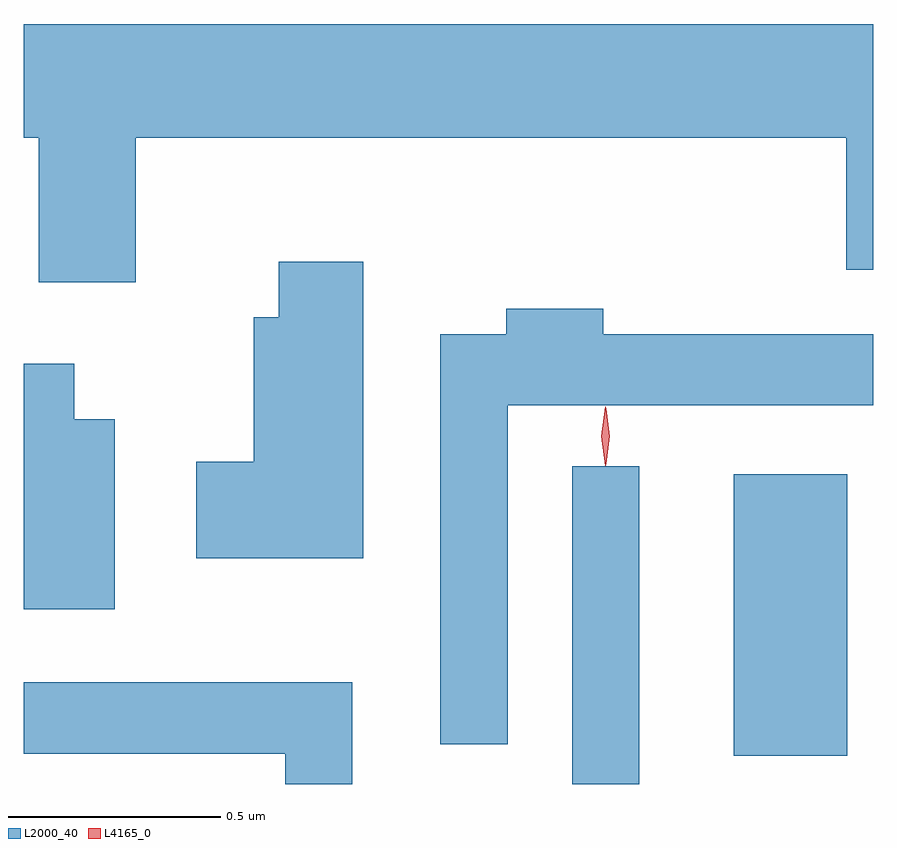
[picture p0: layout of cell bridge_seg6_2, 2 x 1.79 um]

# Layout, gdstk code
import gdstk
lib = gdstk.Library(unit=1e-6, precision=1e-09)
def R(c, l, rs):  # rectangles x0, y0, x1, y1
    for r in rs: c.add(gdstk.rectangle(r[:2], r[2:], *l))
def P(c, l, *ps):  # polygons
    for p in ps: c.add(gdstk.Polygon(p, *l))
L2000_40 = (2000, 40)
L4165_0 = (4165, 0)

bridge_seg6_2 = lib.new_cell('bridge_seg6_2')
R(bridge_seg6_2, L2000_40, [(1461.406,1639.535,1461.564,1640.283), (1461.786,1639.601,1462.054,1640.264)])
P(bridge_seg6_2, L2000_40, [(1460.379,1641.056),(1462.051,1641.056),(1462.051,1640.746),(1462.115,1640.746),(1462.115,1641.324),(1460.115,1641.324),(1460.115,1641.056),(1460.151,1641.056),(1460.151,1640.716),(1460.379,1640.716)],
  [(1460.914,1640.764),(1460.716,1640.764),(1460.716,1640.634),(1460.656,1640.634),(1460.656,1640.294),(1460.521,1640.294),(1460.521,1640.066),(1460.914,1640.066)],
  [(1461.254,1640.426),(1462.115,1640.426),(1462.115,1640.594),(1461.479,1640.594),(1461.479,1640.654),(1461.251,1640.654),(1461.251,1640.594),(1461.096,1640.594),(1461.096,1639.628),(1461.254,1639.628)],
  [(1460.329,1640.394),(1460.234,1640.394),(1460.234,1640.524),(1460.115,1640.524),(1460.115,1639.946),(1460.329,1639.946)],
  [(1460.889,1639.774),(1460.115,1639.774),(1460.115,1639.606),(1460.731,1639.606),(1460.731,1639.535),(1460.889,1639.535)])
P(bridge_seg6_2, L4165_0, [(1461.484,1640.284),(1461.484,1640.284),(1461.474,1640.353),(1461.484,1640.423),(1461.484,1640.423),(1461.485,1640.423),(1461.494,1640.353),(1461.485,1640.284)],
  [(1461.485,1640.287),(1461.485,1640.288),(1461.475,1640.354),(1461.485,1640.42),(1461.485,1640.421),(1461.486,1640.42),(1461.495,1640.354),(1461.486,1640.288)])

lib.write_gds('bridge_seg6_2.gds')
